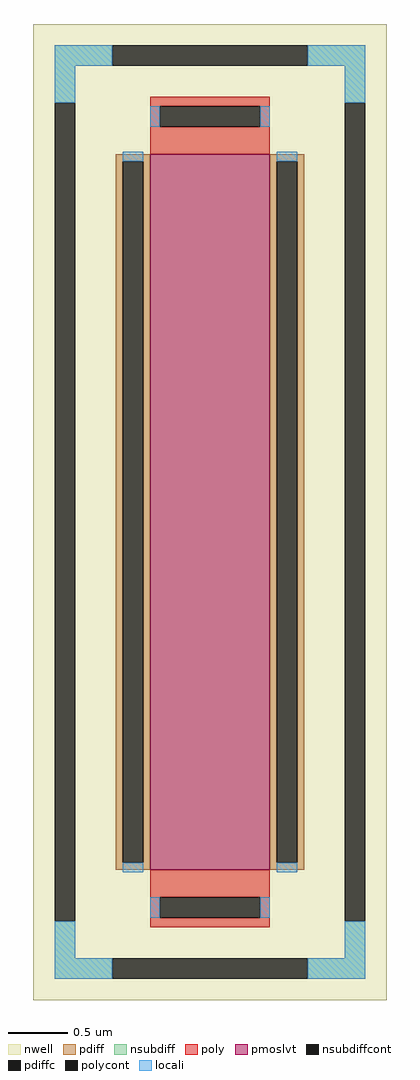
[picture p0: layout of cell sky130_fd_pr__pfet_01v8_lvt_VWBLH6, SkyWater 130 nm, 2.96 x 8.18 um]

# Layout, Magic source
magic
tech sky130A
<< nwell >>
rect -148 -409 148 409
<< pmoslvt >>
rect -50 -300 50 300
<< pdiff >>
rect -79 294 -50 300
rect -79 -294 -73 294
rect -56 -294 -50 294
rect -79 -300 -50 -294
rect 50 294 79 300
rect 50 -294 56 294
rect 73 -294 79 294
rect 50 -300 79 -294
<< pdiffc >>
rect -73 -294 -56 294
rect 56 -294 73 294
<< nsubdiff >>
rect -130 374 -82 391
rect 82 374 130 391
rect -130 343 -113 374
rect 113 343 130 374
rect -130 -374 -113 -343
rect 113 -374 130 -343
rect -130 -391 -82 -374
rect 82 -391 130 -374
<< nsubdiffcont >>
rect -82 374 82 391
rect -130 -343 -113 343
rect 113 -343 130 343
rect -82 -391 82 -374
<< poly >>
rect -50 340 50 348
rect -50 323 -42 340
rect 42 323 50 340
rect -50 300 50 323
rect -50 -323 50 -300
rect -50 -340 -42 -323
rect 42 -340 50 -323
rect -50 -348 50 -340
<< polycont >>
rect -42 323 42 340
rect -42 -340 42 -323
<< locali >>
rect -130 374 -82 391
rect 82 374 130 391
rect -130 343 -113 374
rect 113 343 130 374
rect -50 323 -42 340
rect 42 323 50 340
rect -73 294 -56 302
rect -73 -302 -56 -294
rect 56 294 73 302
rect 56 -302 73 -294
rect -50 -340 -42 -323
rect 42 -340 50 -323
rect -130 -374 -113 -343
rect 113 -374 130 -343
rect -130 -391 -82 -374
rect 82 -391 130 -374
<< properties >>
string gencell sky130_fd_pr__pfet_01v8_lvt
string FIXED_BBOX -121 -383 121 383
string parameters w 6 l 1 m 1 nf 1 diffcov 100 polycov 100 guard 1 glc 1 grc 1 gtc 1 gbc 1 tbcov 100 rlcov 100 topc 1 botc 1 poverlap 0 doverlap 1 lmin 0.35 wmin 0.42 compatible {sky130_fd_pr__pfet_01v8  sky130_fd_pr__pfet_01v8_lvt sky130_fd_pr__pfet_01v8_hvt  sky130_fd_pr__pfet_g5v0d10v5} full_metal 1
string library sky130
<< end >>
